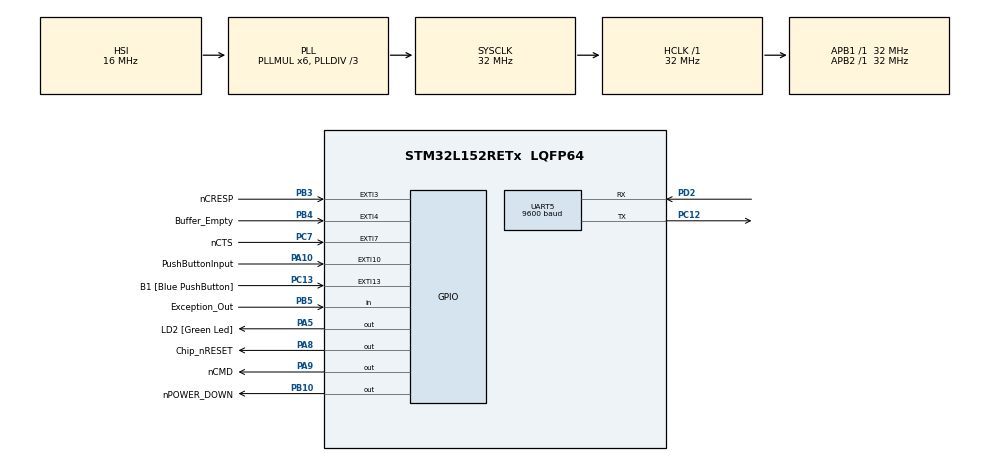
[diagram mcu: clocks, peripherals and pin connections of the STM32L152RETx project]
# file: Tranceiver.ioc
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Mcu.Family=STM32L1
Mcu.Name=STM32L152RETx
Mcu.Package=LQFP64
NVIC.EXTI15_10_IRQn=true\:0\:0\:false\:true\:true\:1\:true
NVIC.EXTI3_IRQn=true\:0\:0\:false\:true\:true\:4\:true
NVIC.EXTI4_IRQn=true\:0\:0\:false\:true\:true\:3\:true
NVIC.EXTI9_5_IRQn=true\:0\:0\:false\:true\:true\:2\:true
NVIC.PriorityGroup=NVIC_PRIORITYGROUP_0
PA10.GPIO_Label=PushButtonInput
PA10.Signal=GPXTI10
PA13.GPIO_Label=TMS
PA13.Signal=SYS_JTMS-SWDIO
PA14.GPIO_Label=TCK
PA14.Signal=SYS_JTCK-SWCLK
PA2.GPIO_Label=USART_TX
PA2.Signal=USART2_TX
PA3.GPIO_Label=USART_RX
PA3.Signal=USART2_RX
PA5.GPIO_Label=LD2 [Green Led]
PA5.Signal=GPIO_Output
PA8.GPIO_Label=Chip_nRESET
PA8.GPIO_PuPd=GPIO_PULLUP
PA8.PinState=GPIO_PIN_SET
PA8.Signal=GPIO_Output
PA9.GPIO_Label=nCMD
PA9.PinState=GPIO_PIN_RESET
PA9.Signal=GPIO_Output
PB10.GPIO_Label=nPOWER_DOWN
PB10.GPIO_PuPd=GPIO_PULLUP
PB10.Signal=GPIO_Output
PB3.GPIO_Label=nCRESP
PB3.GPIO_ModeDefaultEXTI=GPIO_MODE_IT_FALLING
PB3.Signal=GPXTI3
PB4.GPIO_Label=Buffer_Empty
PB4.GPIO_ModeDefaultEXTI=GPIO_MODE_IT_RISING
PB4.Signal=GPXTI4
PB5.GPIO_Label=Exception_Out
PB5.Signal=GPIO_Input
PC12.Mode=Asynchronous
PC12.Signal=UART5_TX
PC13-WKUP2.GPIO_Label=B1 [Blue PushButton]
PC13-WKUP2.Signal=GPXTI13
PC14-OSC32_IN.Signal=RCC_OSC32_IN
PC15-OSC32_OUT.Signal=RCC_OSC32_OUT
PC7.GPIO_Label=nCTS
PC7.GPIO_ModeDefaultEXTI=GPIO_MODE_IT_FALLING
PC7.Signal=GPXTI7
PD2.Mode=Asynchronous
PD2.Signal=UART5_RX
PH0-OSC_IN.Signal=RCC_OSC_IN
PH1-OSC_OUT.Signal=RCC_OSC_OUT
ProjectManager.HeapSize=0x200
ProjectManager.StackSize=0x400
ProjectManager.TargetToolchain=EWARM
RCC.48MHZClocksFreq_Value=48000000
RCC.AHBFreq_Value=32000000
RCC.APB1Freq_Value=32000000
RCC.APB1TimFreq_Value=32000000
RCC.APB2Freq_Value=32000000
RCC.APB2TimFreq_Value=32000000
RCC.HCLKFreq_Value=32000000
RCC.HSE_VALUE=8000000
RCC.HSI_VALUE=16000000
RCC.LSE_VALUE=32768
RCC.MSI_VALUE=2097000
RCC.PLLDIV=RCC_PLL_DIV3
RCC.PLLMUL=RCC_PLL_MUL6
RCC.RTCClockSelectionVirtual=RCC_RTCCLKSOURCE_LSE
RCC.SYSCLKFreq_VALUE=32000000
RCC.SYSCLKSource=RCC_SYSCLKSOURCE_PLLCLK
RCC.USBOutput=48000000
RCC.VCOOutputFreq_Value=96000000
UART5.BaudRate=9600
UART5.VirtualMode=Asynchronous
board=NUCLEO-L152RE

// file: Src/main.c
/**
  ******************************************************************************
  * File Name          : main.c
  * Description        : Main program body
  ******************************************************************************
  ** This notice applies to any and all portions of this file
  * that are not between comment pairs USER CODE BEGIN and
  * USER CODE END. Other portions of this file, whether
  * inserted by the user or by software development tools
  * are owned by their respective copyright owners.
  *
  * COPYRIGHT(c) 2018 STMicroelectronics
  *
  * Redistribution and use in source and binary forms, with or without modification,
  * are permitted provided that the following conditions are met:
  *   1. Redistributions of source code must retain the above copyright notice,
  *      this list of conditions and the following disclaimer.
  *   2. Redistributions in binary form must reproduce the above copyright notice,
  *      this list of conditions and the following disclaimer in the documentation
  *      and/or other materials provided with the distribution.
  *   3. Neither the name of STMicroelectronics nor the names of its contributors
  *      may be used to endorse or promote products derived from this software
  *      without specific prior written permission.
  *
  * THIS SOFTWARE IS PROVIDED BY THE COPYRIGHT HOLDERS AND CONTRIBUTORS "AS IS"
  * AND ANY EXPRESS OR IMPLIED WARRANTIES, INCLUDING, BUT NOT LIMITED TO, THE
  * IMPLIED WARRANTIES OF MERCHANTABILITY AND FITNESS FOR A PARTICULAR PURPOSE ARE
  * DISCLAIMED. IN NO EVENT SHALL THE COPYRIGHT HOLDER OR CONTRIBUTORS BE LIABLE
  * FOR ANY DIRECT, INDIRECT, INCIDENTAL, SPECIAL, EXEMPLARY, OR CONSEQUENTIAL
  * DAMAGES (INCLUDING, BUT NOT LIMITED TO, PROCUREMENT OF SUBSTITUTE GOODS OR
  * SERVICES; LOSS OF USE, DATA, OR PROFITS; OR BUSINESS INTERRUPTION) HOWEVER
  * CAUSED AND ON ANY THEORY OF LIABILITY, WHETHER IN CONTRACT, STRICT LIABILITY,
  * OR TORT (INCLUDING NEGLIGENCE OR OTHERWISE) ARISING IN ANY WAY OUT OF THE USE
  * OF THIS SOFTWARE, EVEN IF ADVISED OF THE POSSIBILITY OF SUCH DAMAGE.
  *
  ******************************************************************************
  */

#include "main.h"
#include "stm32l1xx_hal.h"
#include "usart.h"
#include "gpio.h"

/* USER CODE BEGIN Includes */
#include "EncodeProCmd.h"
#include "HumPro_900MHz.h"
#include "Config_module.h"

/* USER CODE END Includes */

/* USER CODE BEGIN PV */
/* Private variables ---------------------------------------------------------*/

/* USER CODE END PV */

void SystemClock_Config(void);
static void MX_NVIC_Init(void);

/* USER CODE BEGIN PFP */
/* Private function prototypes -----------------------------------------------*/

/* USER CODE END PFP */

/* USER CODE BEGIN 0 */
uint8_t     reg_value;
uint8_t     mydsn_byte[4];
uint8_t     f_humpro_print_regs;

char        transmit_buf[100];
char        receive_buff[100];
uint8_t     enable_tx;
uint16_t    tmp_rcv_delay = 100;

/* USER CODE END 0 */

int main(void)
{

  /* USER CODE BEGIN 1 */
  ERROR_TYPE_E   result;

  /* USER CODE END 1 */

  /* MCU Configuration----------------------------------------------------------*/

  /* Reset of all peripherals, Initializes the Flash interface and the Systick. */
  HAL_Init();

  /* Configure the system clock */
  SystemClock_Config();

  /* Initialize all configured peripherals */
  MX_GPIO_Init();
  MX_UART5_Init();

  /* Initialize interrupts */
  MX_NVIC_Init();

  /* USER CODE BEGIN 2 */
    result = humpro_init ();
    HAL_Delay (300);

#if 0

    //uint8_t   humpro_read_reg_id  (uint8_t  reg_addr, uint8_t  * received_bytes)  {
    result = humpro_read_reg_id    (UARTBAUD, VOLATILE, &reg_value);
    if (reg_value != 0x05)  {
        result = humpro_write_reg_id   (UARTBAUD, VOLATILE, 0x05);    //
        if (result == HUM_PRO_ACK)  {   //0x06)  {
            MX_UART5_reInit_baudRate    (115200);   //9600);
        }
        else    {
            //MX_UART5_reInit_baudRate    (9600);
        }
    }
    result = humpro_read_reg_id    (UARTBAUD, VOLATILE, &reg_value);
#endif

    result = humpro_read_reg_id    (MYDSN3, NON_VOL, &reg_value);
    mydsn_byte[3] = reg_value;
    result = humpro_read_reg_id    (MYDSN2, NON_VOL, &reg_value);
    mydsn_byte[2] = reg_value;
    result = humpro_read_reg_id    (MYDSN1, NON_VOL, &reg_value);
    mydsn_byte[1] = reg_value;
    result = humpro_read_reg_id    (MYDSN0, NON_VOL, &reg_value);
    mydsn_byte[0] = reg_value;

//--- Transmit / Receive check -----------------------------------------------------------

    humpro_setup_addresses (USRCID, UDESTID);

//    humpro_change_addressing_mode (0x04);
    humpro_change_addressing_mode (0x07);

    humpro_update_all_regs ();

    humpro_print_regs (VOLATILE);
    humpro_print_regs (NON_VOL);

    humpro_print_version();
    humpro_print_address();
    humpro_print_addrsng_mode ();
    humpro_print_config ();

//-----------------------------------------------------------------------------------------

  /* USER CODE END 2 */

  /* Infinite loop */
  /* USER CODE BEGIN WHILE */
  char count = 0;

  while (1)
  {
  /* USER CODE END WHILE */

  /* USER CODE BEGIN 3 */
      if (f_humpro_print_regs)  {
          f_humpro_print_regs = 0;
          humpro_update_all_regs ();
          humpro_print_regs(VOLATILE);
          humpro_print_regs(NON_VOL);
      }

      if (enable_tx)    {
          HAL_Delay (1000);
          //sprintf (transmit_buf, "%s : %3d", module_id, count);
          sprintf (transmit_buf, "%s:%3d", module_id, count);

          humpro_send_data (transmit_buf, strlen(transmit_buf));
          printf ("Tx: %s\n", transmit_buf);
          count++;
      }
      else {
          //uint8_t   humpro_receive_data  (uint8_t  * rcv_ptr, uint16_t  no_of_bytes, uint16_t timeout)  {
          //humpro_receive_data  (receive_buff, strlen(transmit_buf), 1000);
          humpro_receive_data  (receive_buff, 6, tmp_rcv_delay);
          printf ("Rx: .. %s\n", receive_buff);
      }
  }
  /* USER CODE END 3 */

}

/** System Clock Configuration
*/
void SystemClock_Config(void)
{

  RCC_OscInitTypeDef RCC_OscInitStruct;
  RCC_ClkInitTypeDef RCC_ClkInitStruct;

    /**Configure the main internal regulator output voltage
    */
  __HAL_PWR_VOLTAGESCALING_CONFIG(PWR_REGULATOR_VOLTAGE_SCALE1);

    /**Initializes the CPU, AHB and APB busses clocks
    */
  RCC_OscInitStruct.OscillatorType = RCC_OSCILLATORTYPE_HSI;
  RCC_OscInitStruct.HSIState = RCC_HSI_ON;
  RCC_OscInitStruct.HSICalibrationValue = 16;
  RCC_OscInitStruct.PLL.PLLState = RCC_PLL_ON;
  RCC_OscInitStruct.PLL.PLLSource = RCC_PLLSOURCE_HSI;
  RCC_OscInitStruct.PLL.PLLMUL = RCC_PLL_MUL6;
  RCC_OscInitStruct.PLL.PLLDIV = RCC_PLL_DIV3;
  if (HAL_RCC_OscConfig(&RCC_OscInitStruct) != HAL_OK)
  {
    _Error_Handler(__FILE__, __LINE__);
  }

    /**Initializes the CPU, AHB and APB busses clocks
    */
  RCC_ClkInitStruct.ClockType = RCC_CLOCKTYPE_HCLK|RCC_CLOCKTYPE_SYSCLK
                              |RCC_CLOCKTYPE_PCLK1|RCC_CLOCKTYPE_PCLK2;
  RCC_ClkInitStruct.SYSCLKSource = RCC_SYSCLKSOURCE_PLLCLK;
  RCC_ClkInitStruct.AHBCLKDivider = RCC_SYSCLK_DIV1;
  RCC_ClkInitStruct.APB1CLKDivider = RCC_HCLK_DIV1;
  RCC_ClkInitStruct.APB2CLKDivider = RCC_HCLK_DIV1;

  if (HAL_RCC_ClockConfig(&RCC_ClkInitStruct, FLASH_LATENCY_1) != HAL_OK)
  {
    _Error_Handler(__FILE__, __LINE__);
  }

    /**Configure the Systick interrupt time
    */
  HAL_SYSTICK_Config(HAL_RCC_GetHCLKFreq()/1000);

    /**Configure the Systick
    */
  HAL_SYSTICK_CLKSourceConfig(SYSTICK_CLKSOURCE_HCLK);

  /* SysTick_IRQn interrupt configuration */
  HAL_NVIC_SetPriority(SysTick_IRQn, 0, 0);
}

/** NVIC Configuration
*/
static void MX_NVIC_Init(void)
{
  /* EXTI15_10_IRQn interrupt configuration */
  HAL_NVIC_SetPriority(EXTI15_10_IRQn, 0, 0);
  HAL_NVIC_EnableIRQ(EXTI15_10_IRQn);
  /* EXTI9_5_IRQn interrupt configuration */
  HAL_NVIC_SetPriority(EXTI9_5_IRQn, 0, 0);
  HAL_NVIC_EnableIRQ(EXTI9_5_IRQn);
  /* EXTI4_IRQn interrupt configuration */
  HAL_NVIC_SetPriority(EXTI4_IRQn, 0, 0);
  HAL_NVIC_EnableIRQ(EXTI4_IRQn);
  /* EXTI3_IRQn interrupt configuration */
  HAL_NVIC_SetPriority(EXTI3_IRQn, 0, 0);
  HAL_NVIC_EnableIRQ(EXTI3_IRQn);
}

void _Error_Handler(char * file, int line)
{
  while(1)
  {
  }
}

/************************ (C) COPYRIGHT STMicroelectronics *****END OF FILE****/
